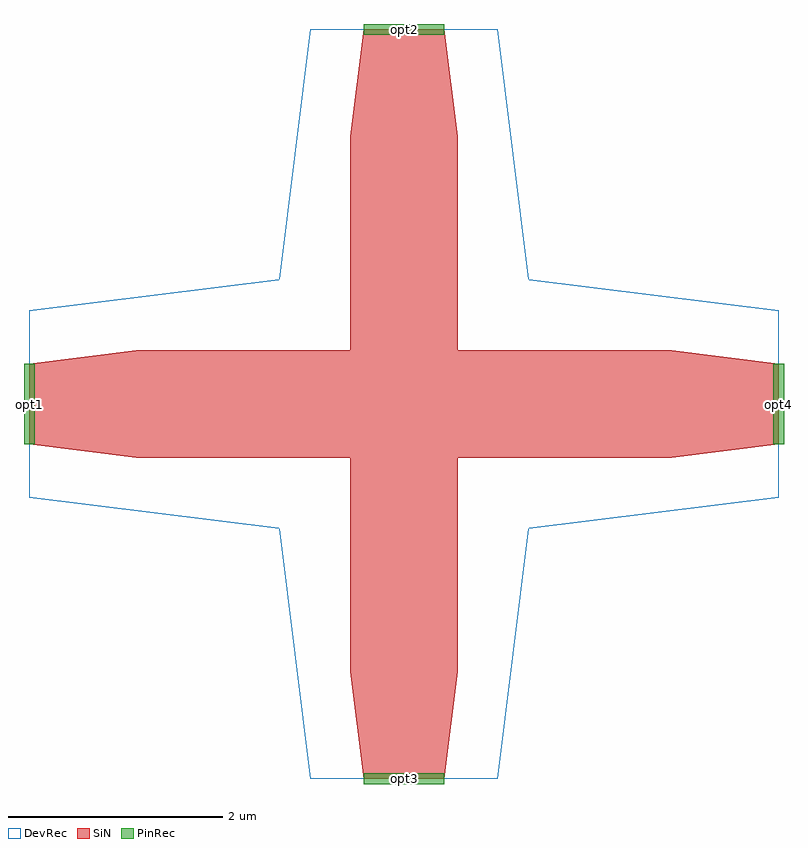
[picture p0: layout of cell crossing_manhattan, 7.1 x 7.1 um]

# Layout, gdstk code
import gdstk
lib = gdstk.Library(unit=1e-6, precision=1e-09)
def P(c, l, *ps):  # polygons
    for p in ps: c.add(gdstk.Polygon(p, *l))
PinRec = (1, 10)
SiN = (4, 0)
DevRec = (68, 0)

crossing_manhattan = lib.new_cell('crossing_manhattan')
P(crossing_manhattan, SiN, [(-0.375,-3.5),(-0.5,-2.5),(-0.5,-0.5),(-2.5,-0.5),(-3.5,-0.375),(-3.5,0.375),(-2.5,0.5),(-0.5,0.5),(-0.5,2.5),(-0.375,3.5),(0.375,3.5),(0.5,2.5),(0.5,0.5),(2.5,0.5),(3.5,0.375),(3.5,-0.375),(2.5,-0.5),(0.5,-0.5),(0.5,-2.5),(0.375,-3.5)])
P(crossing_manhattan, DevRec, [(-0.875,-3.5),(-1.167,-1.167),(-3.5,-0.875),(-3.5,0.875),(-1.167,1.167),(-0.875,3.5),(0.875,3.5),(1.167,1.167),(3.5,0.875),(3.5,-0.875),(1.167,-1.167),(0.875,-3.5)])
crossing_manhattan.add(gdstk.FlexPath([(-3.45,0),(-3.55,0)], 0.75, ends="flush", simple_path=True, layer=1, datatype=10))  # PinRec
crossing_manhattan.add(gdstk.FlexPath([(0,3.45),(0,3.55)], 0.75, ends="flush", simple_path=True, layer=1, datatype=10))  # PinRec
crossing_manhattan.add(gdstk.FlexPath([(3.45,0),(3.55,0)], 0.75, ends="flush", simple_path=True, layer=1, datatype=10))  # PinRec
crossing_manhattan.add(gdstk.FlexPath([(0,-3.45),(0,-3.55)], 0.75, ends="flush", simple_path=True, layer=1, datatype=10))  # PinRec
crossing_manhattan.add(gdstk.Label('opt1', (-3.5,0), layer=1, texttype=10))
crossing_manhattan.add(gdstk.Label('opt2', (0,3.5), layer=1, texttype=10))
crossing_manhattan.add(gdstk.Label('opt4', (3.5,0), layer=1, texttype=10))
crossing_manhattan.add(gdstk.Label('opt3', (0,-3.5), layer=1, texttype=10))

lib.write_gds('crossing_manhattan.gds')
